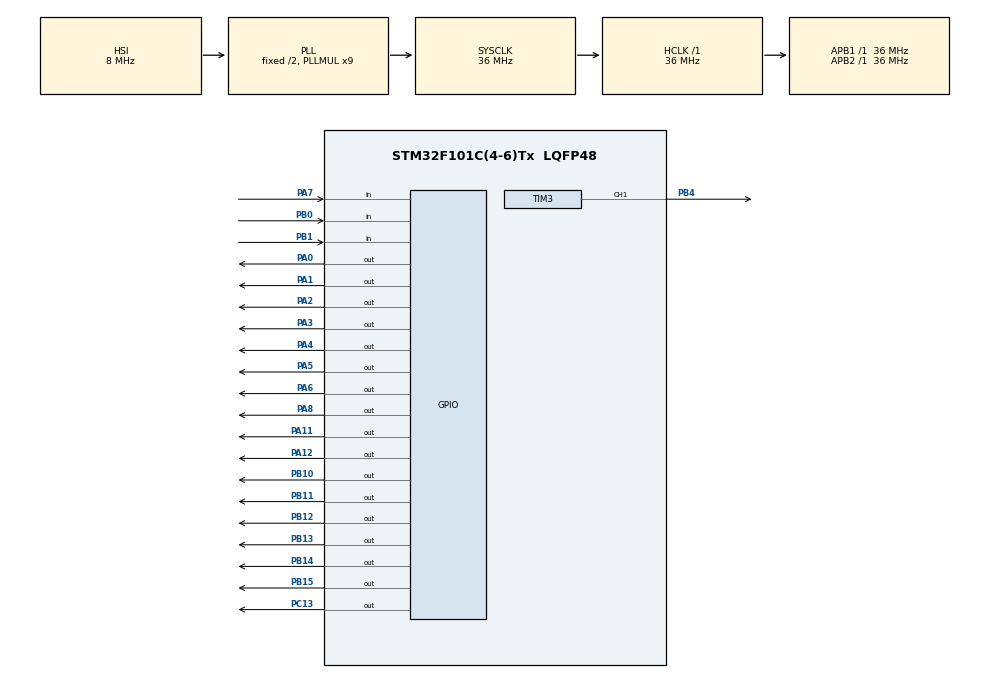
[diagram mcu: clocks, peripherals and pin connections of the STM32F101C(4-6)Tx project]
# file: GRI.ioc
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Mcu.Family=STM32F1
Mcu.Name=STM32F101C(4-6)Tx
Mcu.Package=LQFP48
NVIC.PriorityGroup=NVIC_PRIORITYGROUP_4
NVIC.TIM2_IRQn=true\:0\:0\:false\:false\:true\:true
NVIC.TIM3_IRQn=true\:0\:0\:false\:false\:true\:true
PA0-WKUP.Signal=GPIO_Output
PA1.Signal=GPIO_Output
PA11.Signal=GPIO_Output
PA12.Signal=GPIO_Output
PA13.Mode=Serial_Wire
PA13.Signal=SYS_JTMS-SWDIO
PA14.Mode=Serial_Wire
PA14.Signal=SYS_JTCK-SWCLK
PA2.Signal=GPIO_Output
PA3.Signal=GPIO_Output
PA4.Signal=GPIO_Output
PA5.Signal=GPIO_Output
PA6.Signal=GPIO_Output
PA7.Signal=GPIO_Input
PA8.Signal=GPIO_Output
PB0.Signal=GPIO_Input
PB1.Signal=GPIO_Input
PB10.Signal=GPIO_Output
PB11.Signal=GPIO_Output
PB12.Signal=GPIO_Output
PB13.Signal=GPIO_Output
PB14.Signal=GPIO_Output
PB15.Signal=GPIO_Output
PB4.GPIO_ModeDefaultPP=GPIO_MODE_AF_OD
PB4.Signal=S_TIM3_CH1
PC13-TAMPER-RTC.GPIO_ModeDefaultOutputPP=GPIO_MODE_OUTPUT_OD
PC13-TAMPER-RTC.Signal=GPIO_Output
PC14-OSC32_IN.Mode=LSE-External-Oscillator
PC14-OSC32_IN.Signal=RCC_OSC32_IN
PC15-OSC32_OUT.Mode=LSE-External-Oscillator
PC15-OSC32_OUT.Signal=RCC_OSC32_OUT
ProjectManager.HeapSize=0x200
ProjectManager.StackSize=0x400
ProjectManager.TargetToolchain=SW4STM32
RCC.AHBFreq_Value=36000000
RCC.APB1Freq_Value=36000000
RCC.APB1TimFreq_Value=36000000
RCC.APB2Freq_Value=36000000
RCC.HCLKFreq_Value=36000000
RCC.PLLMUL=RCC_PLL_MUL9
RCC.RTCClockSelection=RCC_RTCCLKSOURCE_LSE
RCC.SYSCLKFreq_VALUE=36000000
RCC.SYSCLKSource=RCC_SYSCLKSOURCE_PLLCLK
SH.S_TIM3_CH1.0=TIM3_CH1,PWM Generation1 CH1
TIM2.Period=3000
TIM2.Prescaler=36
TIM3.Channel-PWM\ Generation1\ CH1=TIM_CHANNEL_1
TIM3.Period=1500
VP_RTC_VS_RTC_Activate.Mode=RTC_Enabled
VP_TIM2_VS_ClockSourceINT.Mode=Internal
VP_TIM3_VS_ClockSourceINT.Mode=Internal
board=custom

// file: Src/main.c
/* USER CODE BEGIN Header */
/**
  ******************************************************************************
  * @file           : main.c
  * @brief          : Main program body
  ******************************************************************************
  ** This notice applies to any and all portions of this file
  * that are not between comment pairs USER CODE BEGIN and
  * USER CODE END. Other portions of this file, whether
  * inserted by the user or by software development tools
  * are owned by their respective copyright owners.
  *
  * COPYRIGHT(c) 2019 STMicroelectronics
  *
  * Redistribution and use in source and binary forms, with or without modification,
  * are permitted provided that the following conditions are met:
  *   1. Redistributions of source code must retain the above copyright notice,
  *      this list of conditions and the following disclaimer.
  *   2. Redistributions in binary form must reproduce the above copyright notice,
  *      this list of conditions and the following disclaimer in the documentation
  *      and/or other materials provided with the distribution.
  *   3. Neither the name of STMicroelectronics nor the names of its contributors
  *      may be used to endorse or promote products derived from this software
  *      without specific prior written permission.
  *
  * THIS SOFTWARE IS PROVIDED BY THE COPYRIGHT HOLDERS AND CONTRIBUTORS "AS IS"
  * AND ANY EXPRESS OR IMPLIED WARRANTIES, INCLUDING, BUT NOT LIMITED TO, THE
  * IMPLIED WARRANTIES OF MERCHANTABILITY AND FITNESS FOR A PARTICULAR PURPOSE ARE
  * DISCLAIMED. IN NO EVENT SHALL THE COPYRIGHT HOLDER OR CONTRIBUTORS BE LIABLE
  * FOR ANY DIRECT, INDIRECT, INCIDENTAL, SPECIAL, EXEMPLARY, OR CONSEQUENTIAL
  * DAMAGES (INCLUDING, BUT NOT LIMITED TO, PROCUREMENT OF SUBSTITUTE GOODS OR
  * SERVICES; LOSS OF USE, DATA, OR PROFITS; OR BUSINESS INTERRUPTION) HOWEVER
  * CAUSED AND ON ANY THEORY OF LIABILITY, WHETHER IN CONTRACT, STRICT LIABILITY,
  * OR TORT (INCLUDING NEGLIGENCE OR OTHERWISE) ARISING IN ANY WAY OUT OF THE USE
  * OF THIS SOFTWARE, EVEN IF ADVISED OF THE POSSIBILITY OF SUCH DAMAGE.
  *
  ******************************************************************************
  */
/* USER CODE END Header */

#include "main.h"

/* USER CODE BEGIN Includes */

#include "GRI.h"																					// Прототипы функций управления выводами индикаторов
#include "Flash.h"																				// Прототипы функций работы с FLASH памятью

RTC_TimeTypeDef sTime;																		// Структура хранения времени
uint8_t SIM[] = {20, 20, 20, 20};															// Массив хранения разрядов индикаторов
uint8_t SIMs[4];																						// Вспомогательный массив хранения разрядов индикаторов
uint8_t CUR[4];																						// Массив хранения текущих разрядов индикаторов
uint8_t POS[] = {1, 0, 2, 9, 3, 8, 4, 7, 5, 6};											// Массив хранения порядка катодов в индикаторе
uint8_t MASK[] = {1,1,1,1};																	// Маска отображения разрядов индикаторов

uint8_t TYPE[4][12] = {																			// Структура хранения цоколевки индикаторов ИН-16 и ИН-14
		{11, 0, 7, 2, 4, 5, 6, 1, 9, 10, 8, 3},
		{10, 1, 2, 3, 4, 5, 6, 7, 8, 9, 11, 0},
		{3, 8, 10, 9, 1, 6, 5, 4, 2, 7, 0, 11},
		{0, 11, 9, 8, 7, 6, 5, 4, 3, 2, 1, 10}
};

uint8_t VLTset=0;																					// Флаг включенного режима установки скважности ШИМ
uint8_t sel=0;																							// Счетчик изменяемого параметра в режиме установки времени
uint8_t dot;																								// Флаг индикации точки
uint8_t setup=0;																					// Флаг влюченного режима установки времени
uint32_t btn_count=0;																			// Счетчик удержания центральной кнопки
uint32_t double_count=0;																	// Счетчик удержания боковых кнопок
uint32_t valM_count=0;																		// Счетчик удержания левой кнопки
uint32_t valP_count=0;																			// Счетчик удержания правой кнопки
uint32_t type1=0;																					// Переменная хранения типа левых индикаторов
uint32_t type2=0;																					// Переменная хранения типа правых индикаторов
uint32_t VOLT;																						// Переменная хранения параметра скважности ШИМ
/* USER CODE END Includes */

RTC_HandleTypeDef hrtc;
TIM_HandleTypeDef htim2;
TIM_HandleTypeDef htim3;

void SystemClock_Config(void);
static void MX_GPIO_Init(void);
static void MX_RTC_Init(void);
static void MX_TIM3_Init(void);
static void MX_TIM2_Init(void);

/* USER CODE BEGIN 0 */

// Измененная функция инициализации часов
void RTC_Init(void)
{
	hrtc.Instance = RTC;
	hrtc.Init.AsynchPrediv = RTC_AUTO_1_SECOND;
	hrtc.Init.OutPut = RTC_OUTPUTSOURCE_NONE;
	if (HAL_RTC_Init(&hrtc) != HAL_OK)
	{
		Error_Handler();
	}
    HAL_RTCEx_BKUPWrite(&hrtc,RTC_BKP_DR1,0x32F2);
}

/* USER CODE END 0 */

int main(void)
{

  /* MCU Configuration--------------------------------------------------------*/

  /* Reset of all peripherals, Initializes the Flash interface and the Systick. */
  HAL_Init();

  /* Configure the system clock */
  SystemClock_Config();

  /* Initialize all configured peripherals */
  MX_GPIO_Init();
  MX_RTC_Init();
  MX_TIM3_Init();
  MX_TIM2_Init();
  /* USER CODE BEGIN 2 */

  HAL_TIM_Base_Start(&htim2);																													// Запуск таймера динамической индикации
  HAL_TIM_Base_Start_IT(&htim2);																												// Включение прерываний таймера динамической индикации
  HAL_TIM_PWM_Start(&htim3, TIM_CHANNEL_1);																					// Запуск генерации ШИМ сигнала высоковольтного преобразователя
  HVset(1500, VOLT);																																		// Установка параметров ШИМ сигнала

  type1 = flash_read(0x08007FF0);																												// Считывание типа левых индикаторов
  type2 = flash_read(0x08007FF4);																												// Считывание типа правых индикаторов
  VOLT = flash_read(0x08007FF8);																												// Считывание параметра скважности ШИМ

  if(type1>1) type1=0;																																	// Если считанные данные некорректны устанавливается значение по умолчанию
  if(type2>1) type2=0;																																	// Если считанные данные некорректны устанавливается значение по умолчанию
  if(VOLT<700 || VOLT>1370) VOLT=1040;																								// Если считанные данные некорректны устанавливается значение по умолчанию

  /* USER CODE END 2 */

  /* Infinite loop */
  /* USER CODE BEGIN WHILE */
  while (1)
  {
	  HAL_RTC_GetTime(&hrtc, &sTime, RTC_FORMAT_BIN);																		// Считывание текущего значения времени

	  if(sTime.Seconds%2)																																// Переключение состояния точки и светодиода с периодом 1 сек.
	  {
		  dot=1;
	  	  HAL_GPIO_WritePin(GPIOC, GPIO_PIN_13, GPIO_PIN_RESET);
	  }
	  else
	  {
		  dot=0;
	  	  HAL_GPIO_WritePin(GPIOC, GPIO_PIN_13, GPIO_PIN_SET);
	  }

//---------------------------------------------------------------------------------------------------------------------------------------------------------------------------------------------------------------//
//-----------------------------------------------------------------------------------------------Режим прожига---------------------------------------------------------------------------------------------//
//---------------------------------------------------------------------------------------------------------------------------------------------------------------------------------------------------------------//

	  if(BUT_L == GPIO_PIN_RESET && BUT_R == GPIO_PIN_RESET && !setup)								// Если произошло одновременное нажатие боковых кнопок в основном режиме
	  {
		  double_count++;																																// Увеличение счетчика удержания нажатых кнопок
		  HAL_Delay(1);																																	// Задержка 1 мс

	  	  if(double_count>1000)																													// При превышении счетчика значения 1000
	  	  {
	  		  double_count=0;																															// Сброс счетчика удержания двух кнопок
			  uint8_t exit=1;																																// Флаг выхода из режима прожига
			  ResAll();																																		// Отключение всех катодов

			  for(int k=1; k<=4; k++) OPres(k);																							// Отключение всех анодов

			  HAL_TIM_Base_Stop_IT(&htim2);																								// Отключение динамической индикации
			  uint8_t OP_cur=1;																														// Переменная выбора анода
			  uint8_t TR_cur=0;																														// Переменная выбора катода
			  OPset(OP_cur);																															// Включение текущего анода
			  TRset(TYPE[type2][TR_cur]);																										// Включение катода цифры 0
			  HVset(2000, 1870);																														// Установка параметров ШИМ генератора для прожига

			  while(BUT_L == GPIO_PIN_RESET || BUT_R == GPIO_PIN_RESET);										// Ожидаем, пока не будет отпущена хотя бы одна кнопка

			  HAL_Delay(50);																															// Задержка устранения дребезга

			  while(exit)																																	// Подцикл режима прожига
			  {
				  if(BUT_L ==  GPIO_PIN_RESET)																								// Если произошло нажатие левой кнопки
				  {
					  OPres(OP_cur);																													// Отключение текущего анода
					  if(OP_cur<4) OP_cur++; else OP_cur=1;																		// Переключение индикатора
					  ResAll();																																// Отключение всех катодов

					  if(OP_cur>2)																														// Включение катода в зависимости от типа индикатора
						  TRset(TYPE[type1][TR_cur]);
					  else
						  TRset(TYPE[type2][TR_cur]);

					  OPset(OP_cur);																													// Включение текущего анода
					  while(BUT_L ==  GPIO_PIN_RESET);																				// Ожидаем, пока не будет отпущена кнопка
					  HAL_Delay(50);																													// Задержка устранения дребезга
				  }

				  if(BUT_R ==  GPIO_PIN_RESET)																							// Если произошло нажатие правой кнопки
				  {
					  ResAll();																																// Отключение всех катодов
					  if(TR_cur<11) TR_cur++; else TR_cur=0;																		// Переключение катода

					  if(OP_cur>2)																														// Включение катода в зависимости от типа индикатора
						  TRset(TYPE[type1][TR_cur]);
					  else
						  TRset(TYPE[type2][TR_cur]);

					  while(BUT_R ==  GPIO_PIN_RESET);																				// Ожидаем, пока не будет отпущена кнопка
					  HAL_Delay(50);																													// Задержка устранения дребезга
				  }

				  if(BUT_M == GPIO_PIN_RESET) exit=0;																				// При нажатии на центральную кнопку выход из подцикла
			  }

			  ResAll();																																		// Отключение всех катодов
			  for(int k=1; k<=4; k++)OPres(k);																								// Отключение всех анодов
			  HAL_TIM_Base_Start_IT(&htim2);																								// Включение динамической индикации
	  	  }
	  }

//---------------------------------------------------------------------------------------------------------------------------------------------------------------------------------------------------------------//
//----------------------------------------------------------------------------------------------Режим настройки--------------------------------------------------------------------------------------------//
//---------------------------------------------------------------------------------------------------------------------------------------------------------------------------------------------------------------//

	  if(BUT_M == GPIO_PIN_RESET)																										// Если нажата средняя кнопка
	  {
		  if(btn_count!=40000) btn_count++;																							// Увеличение счетчика нажатия средней кнопки
		  else																																					// Если значение счетчика больше 40000
		  {
			  setup=!setup;																																// Переключение режима настройки времени
			  if(setup) sel=1; else sel=0;																										// Установка номера изменяемого параметра
			  btn_count++;																																// Увеличение счетчика удержания кнопки еще на еденицу
		  }
	  }

//---------------------------------------------------------------------------------------------------------------------------------------------------------------------------------------------------------------//

	  if(BUT_L == GPIO_PIN_RESET && setup)																						// Если в режиме настройки нажата левая кнопка
	  {
		  if(sel==1)																																			// Если выбран первый параметр
			  if(sTime.Hours>0) sTime.Hours -= 1; else sTime.Hours += 23;											// Уменьшение значения часов
		  else if(sel==2)																																// Если выбран второй параметр
			  if(sTime.Minutes>0) sTime.Minutes -= 1; else sTime.Minutes += 59;									// Уменьшение значения минут
		  else if(sel==3)																																// Если выбран третий параметр
			  if(sTime.Seconds>0) sTime.Seconds -= 1; else sTime.Seconds += 59;								// Уменьшение значения секунд

		  while(BUT_L == GPIO_PIN_RESET && valM_count<200)														// Пока кнопка удерживается менее 200 мс
		  {
			  valM_count++; 																															// Увеличение счетчика удержания кнопки
			  HAL_Delay(1);																																// Задержка 1 мс
		  }

		  if(valM_count>=200) 																													// Если кнопка удерживается более 200 мс
			  HAL_Delay(100);																															// Задержка 100 мс

		  if(setup) HAL_RTC_SetTime(&hrtc, &sTime, RTC_FORMAT_BIN);												// Обновление системного времени
	  }

//---------------------------------------------------------------------------------------------------------------------------------------------------------------------------------------------------------------//

	  if(BUT_R == GPIO_PIN_RESET && setup)																						// Если в режиме настройки нажата правая кнопка
	  {
		  if(sel==1)																																			// Если выбран первый параметр
			  if(sTime.Hours<23) sTime.Hours += 1; else sTime.Hours -= 23;											// Увеличение значения часов
		  else if(sel==2)																																// Если выбран второй параметр
			  if(sTime.Minutes<59) sTime.Minutes += 1; else sTime.Minutes -= 59;								// Увеличение значения минут
		  else if(sel==3)																																// Если выбран третий параметр
			  if(sTime.Seconds<59) sTime.Seconds += 1; else sTime.Seconds -= 59;								// Увеличение значения секунд

		  while(BUT_R == GPIO_PIN_RESET && valP_count<200)															// Пока кнопка удерживается менее 200 мс
		  {
			  valP_count++;																																// Увеличение счетчика удержания кнопки
			  HAL_Delay(1);																																// Задержка 1 мс
		  }

		  if(valP_count>=200) 																														// Если кнопка удерживается более 200 мс
			  HAL_Delay(100);																															// Задержка 100 мс

		  if(setup) HAL_RTC_SetTime(&hrtc, &sTime, RTC_FORMAT_BIN);												// Обновление системного времени
	  }

//---------------------------------------------------------------------------------------------------------------------------------------------------------------------------------------------------------------//
//----------------------------------------------------------------------------------Режим изменения типа индикаторов---------------------------------------------------------------------------------//
//---------------------------------------------------------------------------------------------------------------------------------------------------------------------------------------------------------------//

	  if(BUT_L== GPIO_PIN_RESET && BUT_R == GPIO_PIN_SET && !setup)									// Если в основном режиме нажата левая кнопка и отпущена правая
	  {
		  if(valM_count<500)																														// Если счетчик удержания не превышает значения 500
		  {
			  HAL_Delay(1);																																// Задержка 1 мс
			  valM_count++;																															// Увеличение счетчика удержания кнопки
		  }
		  else																																					// Если счетчик удержания превышает значение 500
		  {
			  dot=0;																																			// Отключается индикация точки
			  if(type2<1) type2++; else type2=0;																						// Переключается тип двух левых индикаторов
			  SIM[0] = 0;																																	// Отображение нуля
			  SIM[1] = 0;																																	// Отображение нуля
			  MASK[2] = 0; MASK[3] = 0;																										// Отключение индикации правых индикаторов
			  while(BUT_L == GPIO_PIN_RESET);																							// Ожидаем, пока не будет отпущена кнопка

			  HVset(1500, 0);																															// Кратковременное уменьшение скважности
			  flash_unlock();																																// Разблокировка FLASH
			  flash_erase_page(0x08007FF0);																								// Стирание страницы
			  flash_write(0x08007FF0, type1);																								// Запись в память текущий тип правых индикаторов
			  flash_write(0x08007FF4, type2);																								// Запись в память текущий тип левых индикаторов
			  flash_write(0x08007FF8, VOLT);																								// Запись текущего значения скважности ШИМ
			  flash_lock();																																	// Блокировка FLASH
		  }
	  }

//---------------------------------------------------------------------------------------------------------------------------------------------------------------------------------------------------------------//

	  if(BUT_R == GPIO_PIN_RESET && BUT_L == GPIO_PIN_SET && !setup)									// Если в основном режиме нажата правая кнопка и отпущена левая
	  {
		  if(valP_count<500)																															// Если счетчик удержания не превышает значения 500
		  {
			  HAL_Delay(1);																																// Задержка 1 мс
			  valP_count++;																																// Увеличение счетчика удержания кнопки
		  }
		  else																																					// Если счетчик удержания превышает значение 500
		  {
			  dot=0;																																			// Отключается индикация точки
			  if(type1<1) type1++; else type1=0;																						// Переключается тип двух правых индикаторов
			  SIM[2] = 0;																																	// Отображение нуля
			  SIM[3] = 0;																																	// Отображение нуля
			  MASK[0] = 0; MASK[1] = 0;																										// Отключение индикации левых индикаторов
			  while(BUT_R == GPIO_PIN_RESET); 																						// Ожидаем, пока не будет отпущена кнопка

			  HVset(1500, 0);																															// Кратковременное уменьшение скважности
			  flash_unlock();																																// Разблокировка FLASH
			  flash_erase_page(0x08007FF0);																								// Стирание страницы
			  flash_write(0x08007FF0, type1);																								// Запись в память текущий тип правых индикаторов
			  flash_write(0x08007FF4, type2);																								// Запись в память текущий тип левых индикаторов
			  flash_write(0x08007FF8, VOLT);																								// Запись текущего значения скважности ШИМ
			  flash_lock();																																	// Блокировка FLASH
		  }
	  }

//---------------------------------------------------------------------------------------------------------------------------------------------------------------------------------------------------------------//
//--------------------------------------------------------------------------------------Обработка отпускания кнопок------------------------------------------------------------------------------------//
//---------------------------------------------------------------------------------------------------------------------------------------------------------------------------------------------------------------//

	  if(BUT_M == GPIO_PIN_SET)																												// Если отпущена средняя кнопка
	  {
		  if(btn_count<40000 && btn_count>0 && setup)																		// Если была кратковремено нажата средняя кнопка в режиме установки времени
			  if(sel<3)sel++; else sel=1;																										// Переключение номера изменяемого параметра

		  	  btn_count=0;																																// Сброс значения счетчика удержания кнопки
	  	 }

	  if(BUT_L == GPIO_PIN_SET)																												// Если отпущена левая кнопка
	  {
		  valM_count=0;																																	// Сброс счетчика удержания кнопки
		  if(double_count) VLTset=1;																											// Если были кратковременно нажаты крайние кнопки
		  double_count=0;																																// Сброс счетчика удержания двух кнопок
	  }

	  if(BUT_R == GPIO_PIN_SET)																												// Если отпущена правая кнопка
	  {
		  valP_count=0;																																	// Сброс счетчика удержания кнопки
		  if(double_count) VLTset=1;																											// Если были кратковременно нажаты крайние кнопки
		  double_count=0;																																// Сброс счетчика удержания двух кнопок
	  }

//---------------------------------------------------------------------------------------------------------------------------------------------------------------------------------------------------------------//
//-------------------------------------------------------------------------------------Режимы отображения времени------------------------------------------------------------------------------------//
//---------------------------------------------------------------------------------------------------------------------------------------------------------------------------------------------------------------//

	  if(sel==0)																																				// Если выбран основной режим отображения времени
	  {
		  CUR[3] = sTime.Minutes%10;																										// Текущие единицы минут
		  CUR[2] = sTime.Minutes/10;																											// Текущие десятки минут
		  CUR[1] = sTime.Hours%10;																											// Текущие единицы часов
		  CUR[0] = sTime.Hours/10;																												// Текущие десятки минут

		  MASK[1] = 1;																																	// Отображать соответствующий разряд
		  MASK[0] = 1;																																	// Отображать соответствующий разряд
		  MASK[3] = 1;																																	// Отображать соответствующий разряд
		  MASK[2] = 1;																																	// Отображать соответствующий разряд

		  	  	  	  	  	  	  	  	  	  	  	  //------Антиотравление-----//

		  if(CUR[0]!=SIMs[0] || CUR[1]!=SIMs[1] || CUR[2]!=SIMs[2] || CUR[3]!=SIMs[3] )					// Если значение одного из индикаторов отличается от текущего времени
		  {
			  dot=0;																																			// Отключение индикации точки
			  for(int i=0; i<4; i++)																													// Цикл для копирования
				  SIMs[i] = SIM[i];																														// Копирование значений индикаторов во вспомогателный массив

			  for(int j=0; j<10; j++)																												// Цикл перебора для антиотравления
			  {
				  for(int i=0; i<4; i++)																												// Перебор четырех индикаторов
					  if(CUR[i]!=SIMs[i]) 																												// Если текущее значение разряда не совпадает со значением из вспомогательного массива
						  SIM[i] = POS[j];																												// Устанавливается значение через массив расположения цифр внутри индикатора
				  HAL_Delay(50);																														// Задержка 50 мс
			  }
		  }
		  for(int i=0; i<4; i++)																														// Цикл для копирования
			  SIM[i] = CUR[i];																															// Установка текущих значений
	  }
	  else if(sel<3)																																		// Если выбран режим настройки часов или минут
	  {
		  SIM[3] = sTime.Minutes%10;																											// Разряд единиц минут
		  SIM[2] = sTime.Minutes/10;																											// Разряд десятков минут
		  SIM[1] = sTime.Hours%10;																											// Разряд единиц минут
		  SIM[0] = sTime.Hours/10;																												// Разряд десятков минут
		  MASK[1] = 1;																																	// Отображать соответствующий разряд
		  MASK[0] = 1;																																	// Отображать соответствующий разряд
	  }
	  else																																						// Если выбран режим настройки секунд
	  {
		  SIM[3] = sTime.Seconds%10;																										// Разряд единиц секунд
		  SIM[2] = sTime.Seconds/10;																											// Разряд десятков секунд
		  MASK[1] = 0;																																	// Не отображать соответствующий разряд
		  MASK[0] = 0;																																	// Не отображать соответствующий разряд
	  }

//---------------------------------------------------------------------------------------------------------------------------------------------------------------------------------------------------------------//
//----------------------------------------------------------------------------------Режим настройки скважности ШИМ----------------------------------------------------------------------------------//
//---------------------------------------------------------------------------------------------------------------------------------------------------------------------------------------------------------------//

	  while(VLTset)
	  {
		  uint16_t tmp_cnt;																															// Локальный счетчик удержания кнопок
		  dot=0;																																				// Отключается индикация точки

		  SIM[0] = VOLT/1000;																														// Разряд тысяч
		  SIM[1] = VOLT%1000/100;																											// Разряд сотен
		  SIM[2] = VOLT%100/10;																												// Разряд десятков
		  SIM[3] = VOLT%10;																														// Разряд единиц

		  if(BUT_M == GPIO_PIN_RESET)																									// Если нажата средняя кнопка
		  {
			  VLTset=0;																																		// Выход из режима настройки ШИМ
			  HVset(1500, 0);																															// Кратковременное уменьшение скважности
			  flash_unlock();																																// Разблокировка FLASH
			  flash_erase_page(0x08007FF0);																								// Стирание страницы
			  flash_write(0x08007FF0, type1);																								// Запись в память текущий тип правых индикаторов
			  flash_write(0x08007FF4, type2);																								// Запись в память текущий тип левых индикаторов
			  flash_write(0x08007FF8, VOLT);																								// Запись текущего значения скважности ШИМ
			  flash_lock();																																	// Блокировка FLASH
		  }

		  if(BUT_L == GPIO_PIN_RESET)																										// Если нажата левая кнопка
		  {
			  HAL_Delay(10);																															// Задержка 10 мс
			  if(VOLT>700) VOLT--;																												// Уменьшение значения скважности до порогового
			  tmp_cnt=0;																																	// Обнуление счетчика удержания кнопок
			  while(BUT_L == GPIO_PIN_RESET)																							// Пока левая кнопка нажата
			  {
				  HAL_Delay(10);																														// Задержка 10 мс
				  if(tmp_cnt<70) tmp_cnt++; else if(VOLT>700) VOLT--;													// Обработка автоматического уменьшения значения при удержании левой кнопки
				  SIM[0] = VOLT/1000;																												// Разряд тысяч
				  SIM[1] = VOLT%1000/100;																									// Разряд сотен
				  SIM[2] = VOLT%100/10;																										// Разряд десятков
				  SIM[3] = VOLT%10;																												// Разряд единиц
			  }
		  }

		  if(BUT_R == GPIO_PIN_RESET)																										// Если нажата правая кнопка
		  {
			  HAL_Delay(10);																															// Задержка 10 мс
			  if(VOLT<1370) VOLT++;																											// Увеличение значения скважности до порогового
			  tmp_cnt=0;																																	// Обнуление счетчика удержания кнопок
			  while(BUT_R == GPIO_PIN_RESET)																							// Пока правая кнопка нажата
			  {
				  HAL_Delay(10);																														// Задержка 10 мс
				  if(tmp_cnt<70) tmp_cnt++; else if(VOLT<1370) VOLT++;												// Обработка автоматического увеличения значения при удержании правой кнопки
				  SIM[0] = VOLT/1000;																												// Разряд тысяч
				  SIM[1] = VOLT%1000/100;																									// Разряд сотен
				  SIM[2] = VOLT%100/10;																										// Разряд десятков
				  SIM[3] = VOLT%10;																												// Разряд единиц
			  }
		  }
	  }

    /* USER CODE END WHILE */

  }
}

void SystemClock_Config(void)
{
  RCC_OscInitTypeDef RCC_OscInitStruct = {0};
  RCC_ClkInitTypeDef RCC_ClkInitStruct = {0};
  RCC_PeriphCLKInitTypeDef PeriphClkInit = {0};

  /**Initializes the CPU, AHB and APB busses clocks
  */
  RCC_OscInitStruct.OscillatorType = RCC_OSCILLATORTYPE_HSI|RCC_OSCILLATORTYPE_LSE;
  RCC_OscInitStruct.LSEState = RCC_LSE_ON;
  RCC_OscInitStruct.HSIState = RCC_HSI_ON;
  RCC_OscInitStruct.HSICalibrationValue = RCC_HSICALIBRATION_DEFAULT;
  RCC_OscInitStruct.PLL.PLLState = RCC_PLL_ON;
  RCC_OscInitStruct.PLL.PLLSource = RCC_PLLSOURCE_HSI_DIV2;
  RCC_OscInitStruct.PLL.PLLMUL = RCC_PLL_MUL9;
  if (HAL_RCC_OscConfig(&RCC_OscInitStruct) != HAL_OK)
  {
    Error_Handler();
  }
  /**Initializes the CPU, AHB and APB busses clocks
  */
  RCC_ClkInitStruct.ClockType = RCC_CLOCKTYPE_HCLK|RCC_CLOCKTYPE_SYSCLK
                              |RCC_CLOCKTYPE_PCLK1|RCC_CLOCKTYPE_PCLK2;
  RCC_ClkInitStruct.SYSCLKSource = RCC_SYSCLKSOURCE_PLLCLK;
  RCC_ClkInitStruct.AHBCLKDivider = RCC_SYSCLK_DIV1;
  RCC_ClkInitStruct.APB1CLKDivider = RCC_HCLK_DIV1;
  RCC_ClkInitStruct.APB2CLKDivider = RCC_HCLK_DIV1;

  if (HAL_RCC_ClockConfig(&RCC_ClkInitStruct, FLASH_LATENCY_1) != HAL_OK)
  {
    Error_Handler();
  }
  PeriphClkInit.PeriphClockSelection = RCC_PERIPHCLK_RTC;
  PeriphClkInit.RTCClockSelection = RCC_RTCCLKSOURCE_LSE;
  if (HAL_RCCEx_PeriphCLKConfig(&PeriphClkInit) != HAL_OK)
  {
    Error_Handler();
  }
}

static void MX_RTC_Init(void)
{

  /**Initialize RTC Only
  */
  hrtc.Instance = RTC;
  hrtc.Init.AsynchPrediv = RTC_AUTO_1_SECOND;
  hrtc.Init.OutPut = RTC_OUTPUTSOURCE_NONE;
  if (HAL_RTC_Init(&hrtc) != HAL_OK)
  {
    Error_Handler();
  }

}

static void MX_TIM2_Init(void)
{

  TIM_ClockConfigTypeDef sClockSourceConfig = {0};
  TIM_MasterConfigTypeDef sMasterConfig = {0};

  htim2.Instance = TIM2;
  htim2.Init.Prescaler = 35;
  htim2.Init.CounterMode = TIM_COUNTERMODE_UP;
  htim2.Init.Period = 3000;
  htim2.Init.ClockDivision = TIM_CLOCKDIVISION_DIV1;
  htim2.Init.AutoReloadPreload = TIM_AUTORELOAD_PRELOAD_DISABLE;
  if (HAL_TIM_Base_Init(&htim2) != HAL_OK)
  {
    Error_Handler();
  }
  sClockSourceConfig.ClockSource = TIM_CLOCKSOURCE_INTERNAL;
  if (HAL_TIM_ConfigClockSource(&htim2, &sClockSourceConfig) != HAL_OK)
  {
    Error_Handler();
  }
  sMasterConfig.MasterOutputTrigger = TIM_TRGO_RESET;
  sMasterConfig.MasterSlaveMode = TIM_MASTERSLAVEMODE_DISABLE;
  if (HAL_TIMEx_MasterConfigSynchronization(&htim2, &sMasterConfig) != HAL_OK)
  {
    Error_Handler();
  }

}

static void MX_TIM3_Init(void)
{

  TIM_ClockConfigTypeDef sClockSourceConfig = {0};
  TIM_MasterConfigTypeDef sMasterConfig = {0};
  TIM_OC_InitTypeDef sConfigOC = {0};

  htim3.Instance = TIM3;
  htim3.Init.Prescaler = 0;
  htim3.Init.CounterMode = TIM_COUNTERMODE_UP;
  htim3.Init.Period = 1500;
  htim3.Init.ClockDivision = TIM_CLOCKDIVISION_DIV1;
  htim3.Init.AutoReloadPreload = TIM_AUTORELOAD_PRELOAD_DISABLE;
  if (HAL_TIM_Base_Init(&htim3) != HAL_OK)
  {
    Error_Handler();
  }
  sClockSourceConfig.ClockSource = TIM_CLOCKSOURCE_INTERNAL;
  if (HAL_TIM_ConfigClockSource(&htim3, &sClockSourceConfig) != HAL_OK)
  {
    Error_Handler();
  }
  if (HAL_TIM_PWM_Init(&htim3) != HAL_OK)
  {
    Error_Handler();
  }
  sMasterConfig.MasterOutputTrigger = TIM_TRGO_RESET;
  sMasterConfig.MasterSlaveMode = TIM_MASTERSLAVEMODE_DISABLE;
  if (HAL_TIMEx_MasterConfigSynchronization(&htim3, &sMasterConfig) != HAL_OK)
  {
    Error_Handler();
  }
  sConfigOC.OCMode = TIM_OCMODE_PWM1;
  sConfigOC.Pulse = 0;
  sConfigOC.OCPolarity = TIM_OCPOLARITY_HIGH;
  sConfigOC.OCFastMode = TIM_OCFAST_DISABLE;
  if (HAL_TIM_PWM_ConfigChannel(&htim3, &sConfigOC, TIM_CHANNEL_1) != HAL_OK)
  {
    Error_Handler();
  }
  HAL_TIM_MspPostInit(&htim3);

}

static void MX_GPIO_Init(void)
{
  GPIO_InitTypeDef GPIO_InitStruct = {0};

  /* GPIO Ports Clock Enable */
  __HAL_RCC_GPIOC_CLK_ENABLE();
  __HAL_RCC_GPIOA_CLK_ENABLE();
  __HAL_RCC_GPIOB_CLK_ENABLE();

  /*Configure GPIO pin Output Level */
  HAL_GPIO_WritePin(GPIOC, GPIO_PIN_13, GPIO_PIN_RESET);

  /*Configure GPIO pin Output Level */
  HAL_GPIO_WritePin(GPIOA, GPIO_PIN_0|GPIO_PIN_1|GPIO_PIN_2|GPIO_PIN_3
                          |GPIO_PIN_4|GPIO_PIN_5|GPIO_PIN_6|GPIO_PIN_8
                          |GPIO_PIN_11|GPIO_PIN_12, GPIO_PIN_RESET);

  /*Configure GPIO pin Output Level */
  HAL_GPIO_WritePin(GPIOB, GPIO_PIN_10|GPIO_PIN_11|GPIO_PIN_12|GPIO_PIN_13
                          |GPIO_PIN_14|GPIO_PIN_15, GPIO_PIN_RESET);

  /*Configure GPIO pin : PC13 */
  GPIO_InitStruct.Pin = GPIO_PIN_13;
  GPIO_InitStruct.Mode = GPIO_MODE_OUTPUT_OD;
  GPIO_InitStruct.Pull = GPIO_NOPULL;
  GPIO_InitStruct.Speed = GPIO_SPEED_FREQ_LOW;
  HAL_GPIO_Init(GPIOC, &GPIO_InitStruct);

  /*Configure GPIO pins : PA0 PA1 PA2 PA3
                           PA4 PA5 PA6 PA8
                           PA11 PA12 */
  GPIO_InitStruct.Pin = GPIO_PIN_0|GPIO_PIN_1|GPIO_PIN_2|GPIO_PIN_3
                          |GPIO_PIN_4|GPIO_PIN_5|GPIO_PIN_6|GPIO_PIN_8
                          |GPIO_PIN_11|GPIO_PIN_12;
  GPIO_InitStruct.Mode = GPIO_MODE_OUTPUT_PP;
  GPIO_InitStruct.Pull = GPIO_NOPULL;
  GPIO_InitStruct.Speed = GPIO_SPEED_FREQ_LOW;
  HAL_GPIO_Init(GPIOA, &GPIO_InitStruct);

  /*Configure GPIO pin : PA7 */
  GPIO_InitStruct.Pin = GPIO_PIN_7;
  GPIO_InitStruct.Mode = GPIO_MODE_INPUT;
  GPIO_InitStruct.Pull = GPIO_NOPULL;
  HAL_GPIO_Init(GPIOA, &GPIO_InitStruct);

  /*Configure GPIO pins : PB0 PB1 */
  GPIO_InitStruct.Pin = GPIO_PIN_0|GPIO_PIN_1;
  GPIO_InitStruct.Mode = GPIO_MODE_INPUT;
  GPIO_InitStruct.Pull = GPIO_NOPULL;
  HAL_GPIO_Init(GPIOB, &GPIO_InitStruct);

  /*Configure GPIO pins : PB10 PB11 PB12 PB13
                           PB14 PB15 */
  GPIO_InitStruct.Pin = GPIO_PIN_10|GPIO_PIN_11|GPIO_PIN_12|GPIO_PIN_13
                          |GPIO_PIN_14|GPIO_PIN_15;
  GPIO_InitStruct.Mode = GPIO_MODE_OUTPUT_PP;
  GPIO_InitStruct.Pull = GPIO_NOPULL;
  GPIO_InitStruct.Speed = GPIO_SPEED_FREQ_LOW;
  HAL_GPIO_Init(GPIOB, &GPIO_InitStruct);

}

void Error_Handler(void)
{
}

/************************ (C) COPYRIGHT STMicroelectronics *****END OF FILE****/
